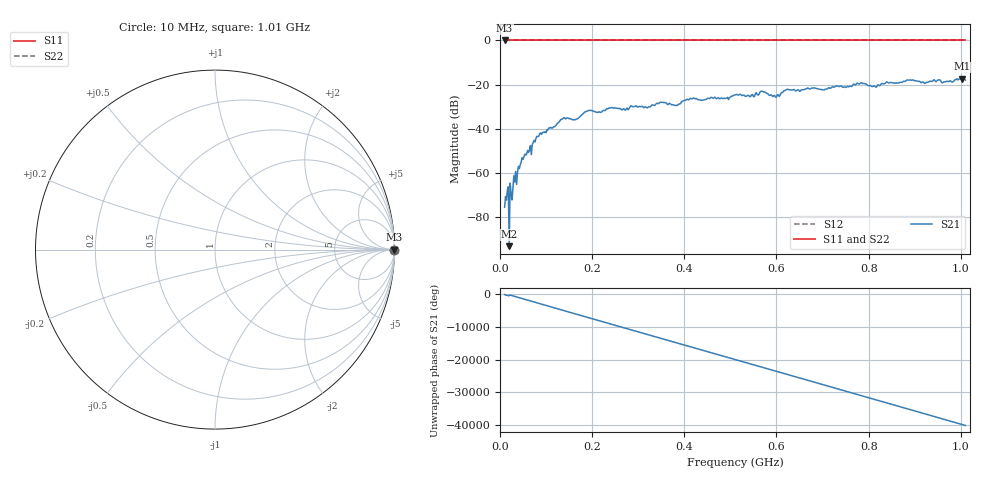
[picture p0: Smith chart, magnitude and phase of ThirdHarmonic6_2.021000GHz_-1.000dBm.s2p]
! 8/17/2025 12:15:44 AM
! C:\ANRITSUVNA\TEMP\TEMP.S2P
! CHANNEL.1
! TR.MEASUREMENT
! RAW.DATA
! RF.CORRECTION.OFF
! AVERAGING.OFF
! IF.BANDWIDTH: 5KHZ
! SWEEPTYPE:  FREQ.SWEEP(Linear)
! Reference Plane Port Info
! PORT:  PORT1  PORT2
! DISTANCE:  0  m  0  m
! TIME:  0  s  0  s
! PHASE.OFFSET:  0  deg.  0  deg.
! LOSS:  0  dB  0  dB
! REF.LOSS:  0  dB  0  dB
! REF.FREQ:  0  Hz  0  Hz
! Power Info
! POWER:  -20  dBm  -20  dBm
! EFF.POWER:  -20  dBm  -20  dBm
! SOURCE.ATTEN:  0  dB  0  dB
! TEST.ATTEN:  0  dB  0  dB
# GHZ S RI R 50.0
! FREQ.GHZ  S11RE  S11IM  S21RE  S21IM  S12RE  S12IM  S22RE  S22IM
!; PortSelection: Port_12
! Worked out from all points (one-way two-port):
!   501 points, 10 MHz to 1.01 GHz, reference 50 ohm
!   highest |S21| = -17.31 dB at 1.002 GHz (marker M1); lowest = -93.2 dB at 20 MHz (marker M2)
!   lowest |S11| = 0.0 dB at 10 MHz (marker M3)
!   |S11| at or under -10 dB: nowhere
!   |S22| runs from 0.0 to 0.0 dB; largest |S21 - S12| = 1.1
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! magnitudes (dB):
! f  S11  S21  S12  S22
! 10 MHz  0.0  -75.6  0.0  0.0
! 14 MHz  0.0  -72.3  0.0  0.0
! 20 MHz  0.0  -93.2  0.0  0.0
! 24 MHz  0.0  -69.1  0.0  0.0
! 26 MHz  0.0  -72.3  0.0  0.0
! 50 MHz  0.0  -53.8  0.0  0.0
! 84 MHz  0.0  -43.4  0.0  0.0
! 136 MHz  0.0  -35.4  0.0  0.0
! 162 MHz  0.0  -35.9  0.0  0.0
! 178 MHz  0.0  -33.6  0.0  0.0
! 344 MHz  0.0  -28.7  0.0  0.0
! 382 MHz  0.0  -29.3  0.0  0.0
! 416 MHz  0.0  -26.5  0.0  0.0
! 510 MHz  0.0  -24.7  0.0  0.0
! 548 MHz  0.0  -24.5  0.0  0.0
! 570 MHz  0.0  -23.1  0.0  0.0
! 596 MHz  0.0  -25.0  0.0  0.0
! 622 MHz  0.0  -22.2  0.0  0.0
! 678 MHz  0.0  -21.6  0.0  0.0
! 844 MHz  0.0  -19.3  0.0  0.0
! 1.002 GHz  0.0  -17.3  0.0  0.0
! 1.01 GHz  0.0  -18.0  0.0  0.0
